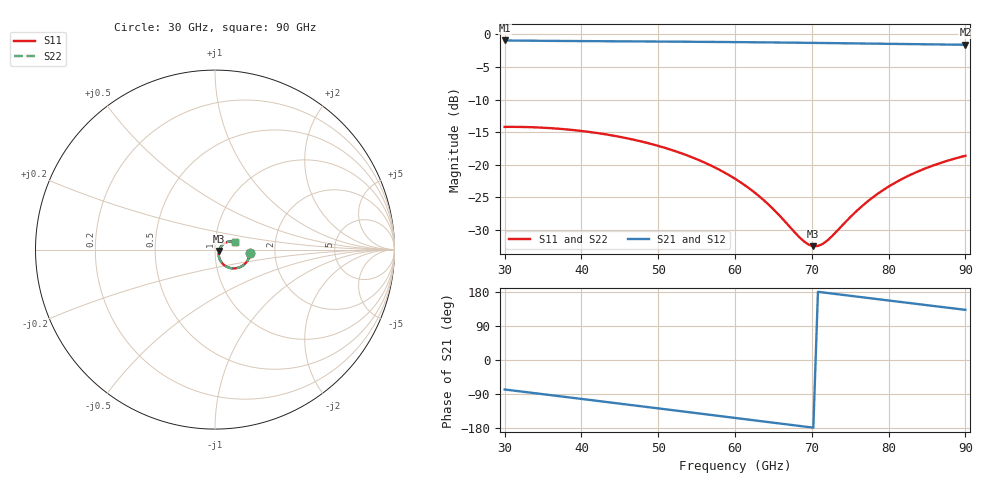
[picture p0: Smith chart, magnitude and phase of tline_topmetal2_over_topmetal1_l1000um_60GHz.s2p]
#  GHZ S DB R 50
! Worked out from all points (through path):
!   101 points, 30 GHz to 90 GHz, reference 50 ohm
!   highest |S21| = -0.95 dB at 30 GHz (marker M1); lowest = -1.6 dB at 90 GHz (marker M2)
!   group delay of S21, straight-line fit = 6.96 ps
!   lowest |S11| = -32.5 dB at 70.2 GHz (marker M3), VSWR 1.05, Z = 52.3 - j0.766 ohm
!   |S11| at or under -10 dB: start of sweep to end of sweep
!   |S22| runs from -32.5 to -14.2 dB; largest |S21 - S12| = 0
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30  -14.19 -6.4  -0.95 -77.8  -0.95 -77.8  -14.19 -6.4
35.4  -14.34 -18.0  -1.01 -91.2  -1.01 -91.2  -14.35 -18.0
40.2  -14.84 -28.3  -1.05 -103.2  -1.05 -103.2  -14.84 -28.3
45  -15.72 -38.3  -1.08 -115.1  -1.08 -115.1  -15.72 -38.3
50.4  -17.24 -48.9  -1.12 -128.7  -1.12 -128.7  -17.24 -48.9
55.8  -19.54 -58.2  -1.16 -142.3  -1.16 -142.3  -19.54 -58.2
60  -22.14 -63.1  -1.20 -152.9  -1.20 -152.9  -22.14 -63.2
61.8  -23.57 -64.0  -1.22 -157.4  -1.22 -157.4  -23.58 -64.1
63.6  -25.27 -63.2  -1.24 -161.9  -1.24 -161.9  -25.28 -63.4
65.4  -27.29 -59.8  -1.26 -166.5  -1.26 -166.5  -27.30 -60.0
68.4  -31.12 -41.4  -1.30 -174.0  -1.30 -174.0  -31.16 -41.6
69.6  -32.23 -26.6  -1.31 -177.0  -1.31 -177.0  -32.29 -26.8
70.2  -32.47 -17.9  -1.32 -178.5  -1.32 -178.5  -32.53 -18.1
70.8  -32.43 -9.0  -1.33 180.0  -1.33 180.0  -32.50 -9.1
72  -31.63 6.9  -1.35 177.0  -1.35 177.0  -31.69 7.0
75  -28.04 28.3  -1.39 169.5  -1.39 169.5  -28.07 28.5
76.8  -26.07 32.5  -1.42 165.0  -1.42 165.0  -26.10 32.7
78.6  -24.43 33.7  -1.44 160.5  -1.44 160.5  -24.45 33.9
80.4  -23.06 33.3  -1.47 156.0  -1.47 156.0  -23.08 33.4
84.6  -20.65 29.0  -1.53 145.7  -1.53 145.7  -20.66 29.1
87  -19.63 25.4  -1.57 139.8  -1.57 139.8  -19.64 25.5
90  -18.62 20.4  -1.61 132.4  -1.61 132.4  -18.63 20.5
